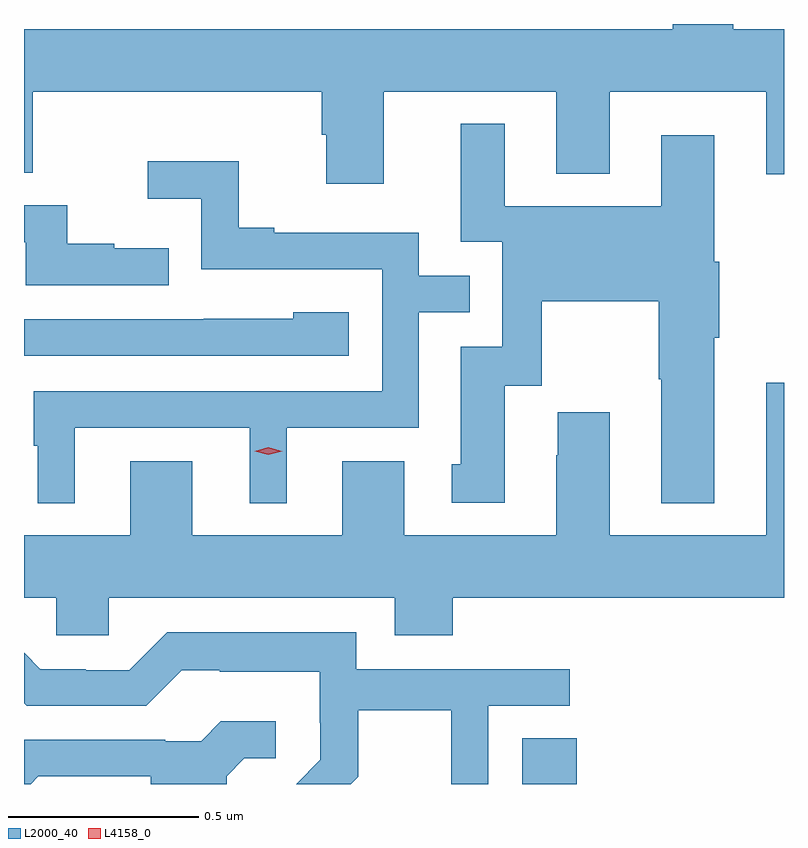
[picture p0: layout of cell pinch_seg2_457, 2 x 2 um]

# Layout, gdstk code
import gdstk
lib = gdstk.Library(unit=1e-6, precision=1e-09)
def R(c, l, rs):  # rectangles x0, y0, x1, y1
    for r in rs: c.add(gdstk.rectangle(r[:2], r[2:], *l))
def P(c, l, *ps):  # polygons
    for p in ps: c.add(gdstk.Polygon(p, *l))
L2000_40 = (2000, 40)
L4158_0 = (4158, 0)

pinch_seg2_457 = lib.new_cell('pinch_seg2_457')
R(pinch_seg2_457, L2000_40, [(900.617,607.186,900.761,607.307)])
P(pinch_seg2_457, L2000_40, [(900.253,609.008),(900.707,609.008),(900.707,608.792),(900.847,608.792),(900.847,609.008),(901.259,609.008),(901.259,608.79),(901.306,608.79),(901.306,609.172),(901.173,609.172),(901.173,609.186),(901.013,609.186),(901.013,609.172),(899.306,609.172),(899.306,608.794),(899.329,608.794),(899.329,609.008),(900.089,609.008),(900.089,608.895),(900.101,608.895),(900.101,608.766),(900.253,608.766)],
  [(901.123,608.36),(901.136,608.36),(901.136,608.56),(901.123,608.56),(901.123,608.893),(900.983,608.893),(900.983,608.707),(900.571,608.707),(900.571,608.923),(900.455,608.923),(900.455,608.613),(900.564,608.613),(900.564,608.337),(900.455,608.337),(900.455,608.028),(900.431,608.028),(900.431,607.926),(900.571,607.926),(900.571,608.234),(900.669,608.234),(900.669,608.456),(900.976,608.456),(900.976,608.251),(900.983,608.251),(900.983,607.925),(901.123,607.925)],
  [(899.44,608.124),(899.9,608.124),(899.9,607.925),(899.998,607.925),(899.998,608.124),(900.345,608.124),(900.345,608.427),(900.479,608.427),(900.479,608.523),(900.345,608.523),(900.345,608.637),(899.965,608.637),(899.965,608.65),(899.871,608.65),(899.871,608.825),(899.631,608.825),(899.631,608.726),(899.772,608.726),(899.772,608.541),(900.249,608.541),(900.249,608.22),(899.331,608.22),(899.331,608.076),(899.342,608.076),(899.342,607.925),(899.44,607.925)],
  [(899.687,608.596),(899.543,608.596),(899.543,608.608),(899.42,608.608),(899.42,608.709),(899.306,608.709),(899.306,608.612),(899.31,608.612),(899.31,608.499),(899.687,608.499)],
  [(900.16,608.428),(900.015,608.428),(900.015,608.41),(899.779,608.41),(899.779,608.409),(899.306,608.409),(899.306,608.313),(900.16,608.313)],
  [(900.434,607.676),(901.306,607.676),(901.306,608.242),(901.259,608.242),(901.259,607.84),(900.847,607.84),(900.847,608.164),(900.71,608.164),(900.71,608.051),(900.707,608.051),(900.707,607.84),(900.307,607.84),(900.307,608.035),(900.143,608.035),(900.143,607.84),(899.749,607.84),(899.749,608.035),(899.585,608.035),(899.585,607.84),(899.306,607.84),(899.306,607.676),(899.391,607.676),(899.391,607.578),(899.529,607.578),(899.529,607.676),(900.281,607.676),(900.281,607.577),(900.434,607.577)],
  [(900.185,607.205),(900.185,607.38),(900.43,607.38),(900.43,607.186),(900.528,607.186),(900.528,607.392),(900.742,607.392),(900.742,607.488),(900.18,607.488),(900.18,607.585),(899.683,607.585),(899.583,607.485),(899.468,607.485),(899.468,607.488),(899.349,607.488),(899.306,607.531),(899.306,607.399),(899.313,607.392),(899.628,607.392),(899.721,607.485),(899.821,607.485),(899.821,607.481),(900.084,607.481),(900.084,607.347),(900.086,607.347),(900.086,607.25),(900.022,607.186),(900.166,607.186)],
  [(899.344,607.206),(899.639,607.206),(899.639,607.186),(899.839,607.186),(899.839,607.207),(899.886,607.254),(899.968,607.254),(899.968,607.351),(899.824,607.351),(899.772,607.299),(899.678,607.299),(899.678,607.302),(899.306,607.302),(899.306,607.186),(899.324,607.186)])
P(pinch_seg2_457, L4158_0, [(899.949,608.052),(899.913,608.062),(899.913,608.062),(899.913,608.062),(899.949,608.072),(899.985,608.062),(899.985,608.062),(899.985,608.062)])

lib.write_gds('pinch_seg2_457.gds')
